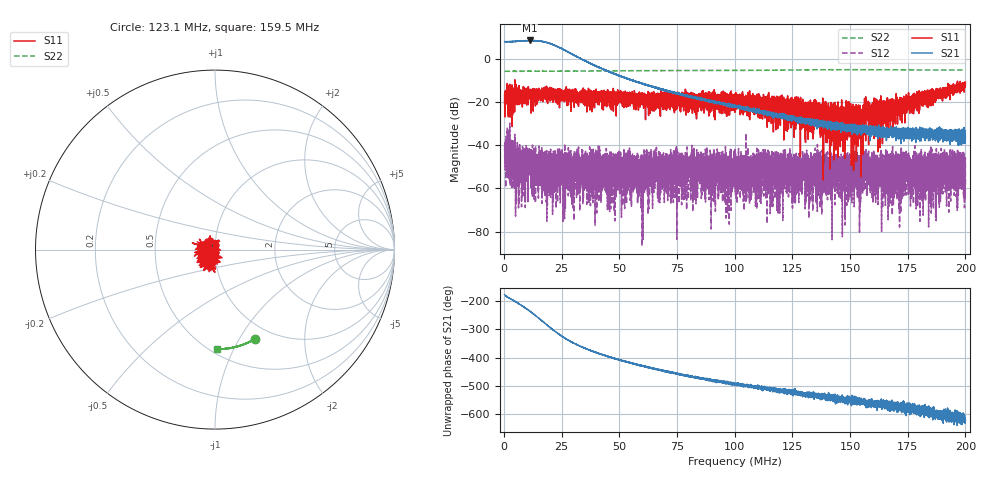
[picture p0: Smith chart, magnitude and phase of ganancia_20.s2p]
# Hz S DB R 50
! CMT, M5065, 19127446, 24.2.4/2
! Date: 11/8/2024 3:57:03 PM
! Data: Format (Calibration Info)
! Freq	S11:dB/Ang(F2)	S21:dB/Ang(F2)	S12:dB/Ang(F2)	S22:dB/Ang(F2)
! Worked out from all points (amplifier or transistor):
!   9000 points, 300 kHz to 200 MHz, reference 50 ohm
!   highest |S21| = 8.4 dB at 11.11 MHz (marker M1)
!   |S21| within 3 dB of that: start of sweep to 23.47 MHz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
!   unconditionally stable (mu >= 1): start of sweep to end of sweep
!   at 33.59 MHz: K = 115.10, MAG = 1.4 dB, |S12| = -50.1 dB
!   at 100.2 MHz: K = 584.38, MAG = -20.9 dB, |S12| = -41.9 dB
!   at 200 MHz: K = 4262.91, MAG = -34.9 dB, |S12| = -45.6 dB
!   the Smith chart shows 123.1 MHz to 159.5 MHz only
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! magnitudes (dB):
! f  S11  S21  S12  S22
! 300 kHz  -20.8  7.8  -40.5  -5.8
! 8.245 MHz  -17.8  8.2  -45.8  -5.8
! 11.11 MHz  -14.6  8.4  -51.5  -5.8
! 21.74 MHz  -15.4  6.3  -48.2  -5.8
! 25.55 MHz  -16.2  4.3  -58.6  -5.8
! 29.35 MHz  -19.5  2.1  -45.9  -5.8
! 33.59 MHz  -14.6  -0.1  -50.1  -5.7
! 66.87 MHz  -17.7  -13.6  -51.0  -5.5
! 100.2 MHz  -20.2  -22.4  -41.9  -5.5
! 115.5 MHz  -19.3  -25.9  -56.3  -5.4
! 133.4 MHz  -34.1  -29.7  -46.9  -5.2
! 155.2 MHz  -27.6  -32.5  -49.9  -5.1
! 157 MHz  -19.8  -32.4  -47.1  -5.1
! 161.3 MHz  -21.4  -35.0  -44.8  -5.1
! 166.7 MHz  -21.2  -36.4  -47.8  -5.2
! 171 MHz  -23.7  -32.2  -55.1  -5.2
! 174.1 MHz  -23.5  -35.1  -49.1  -5.2
! 182.6 MHz  -18.3  -35.3  -51.7  -5.2
! 190.9 MHz  -15.3  -36.2  -44.2  -5.3
! 193.1 MHz  -13.2  -35.4  -53.6  -5.3
! 199 MHz  -12.7  -39.2  -52.1  -5.3
! 200 MHz  -10.9  -36.8  -45.6  -5.3
